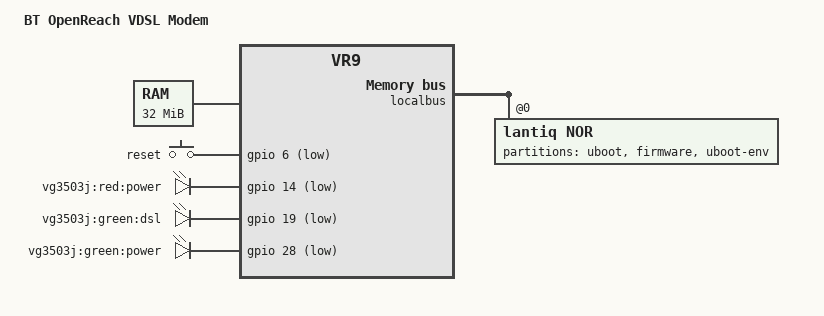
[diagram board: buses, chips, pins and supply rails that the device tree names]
/dts-v1/;

#include "vr9.dtsi"

#include <dt-bindings/input/input.h>
#include <dt-bindings/mips/lantiq_rcu_gphy.h>

/ {
	compatible = "arcadyan,vg3503j", "lantiq,xway", "lantiq,vr9";
	model = "BT OpenReach VDSL Modem";

	chosen {
		bootargs = "console=ttyLTQ0,115200";
	};

	aliases {
		led-boot = &power_green;
		led-failsafe = &power_red;
		led-running = &power_green;
		led-upgrade = &power_green;

		led-dsl = &dsl;
	};

	memory@0 {
		reg = <0x0 0x2000000>;
	};

	gpio-keys-polled {
		compatible = "gpio-keys-polled";
		#address-cells = <1>;
		#size-cells = <0>;
		poll-interval = <100>;
		reset {
			label = "reset";
			gpios = <&gpio 6 GPIO_ACTIVE_LOW>;
			linux,code = <KEY_RESTART>;
		};
	};

	gpio-leds {
		compatible = "gpio-leds";

		power_red: power2 {
			label = "vg3503j:red:power";
			gpios = <&gpio 14 GPIO_ACTIVE_LOW>;
		};
		dsl: dsl {
			label = "vg3503j:green:dsl";
			gpios = <&gpio 19 GPIO_ACTIVE_LOW>;
		};
		power_green: power {
			label = "vg3503j:green:power";
			gpios = <&gpio 28 GPIO_ACTIVE_LOW>;
			default-state = "keep";
		};
	};
};

&gpio {
	pinctrl-names = "default";
	pinctrl-0 = <&state_default>;

	state_default: pinmux {
		mdio {
			lantiq,groups = "mdio";
			lantiq,function = "mdio";
		};
		gphy-leds {
			lantiq,groups = "gphy0 led0", "gphy0 led1",
					"gphy0 led2", "gphy1 led0",
					"gphy1 led1", "gphy1 led2";
			lantiq,function = "gphy";
			lantiq,pull = <2>;
			lantiq,open-drain = <0>;
			lantiq,output = <1>;
		};
	};
};

&localbus {
	nor@0 {
		compatible = "lantiq,nor";
		bank-width = <2>;
		reg = <0 0x0 0x2000000>;
		#address-cells = <1>;
		#size-cells = <1>;

		partitions {
			compatible = "fixed-partitions";
			#address-cells = <1>;
			#size-cells = <1>;

			partition@0 {
				label = "uboot";
				reg = <0x00000 0x20000>;
			};

			partition@20000 {
				label = "firmware";
				reg = <0x20000 0x7d0000>;
			};

			partition@7f0000 {
				label = "uboot-env";
				reg = <0x7f0000 0x10000>;
			};
		};
	};
};
